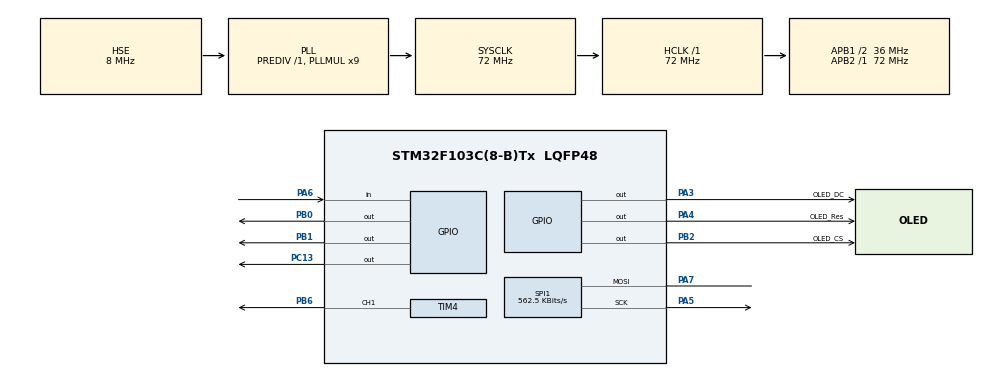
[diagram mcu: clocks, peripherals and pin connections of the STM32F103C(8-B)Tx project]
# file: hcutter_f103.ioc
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Mcu.Family=STM32F1
Mcu.Name=STM32F103C(8-B)Tx
Mcu.Package=LQFP48
NVIC.PriorityGroup=NVIC_PRIORITYGROUP_4
PA13.Mode=Serial_Wire
PA13.Signal=SYS_JTMS-SWDIO
PA14.Mode=Serial_Wire
PA14.Signal=SYS_JTCK-SWCLK
PA3.GPIO_Label=OLED_DC
PA3.Signal=GPIO_Output
PA4.GPIO_Label=OLED_Res
PA4.Signal=GPIO_Output
PA5.Mode=Simplex_Bidirectional_Master
PA5.Signal=SPI1_SCK
PA6.GPIO_PuPd=GPIO_PULLUP
PA6.Signal=GPIO_Input
PA7.Mode=Simplex_Bidirectional_Master
PA7.Signal=SPI1_MOSI
PB0.GPIO_PuPd=GPIO_PULLDOWN
PB0.Signal=GPIO_Output
PB1.GPIO_PuPd=GPIO_PULLDOWN
PB1.Signal=GPIO_Output
PB2.GPIO_Label=OLED_CS
PB2.Signal=GPIO_Output
PB6.Signal=S_TIM4_CH1
PC13-TAMPER-RTC.PinState=GPIO_PIN_SET
PC13-TAMPER-RTC.Signal=GPIO_Output
PD0-OSC_IN.Mode=HSE-External-Oscillator
PD0-OSC_IN.Signal=RCC_OSC_IN
PD1-OSC_OUT.Mode=HSE-External-Oscillator
PD1-OSC_OUT.Signal=RCC_OSC_OUT
ProjectManager.HeapSize=0x200
ProjectManager.StackSize=0x400
ProjectManager.TargetToolchain=STM32CubeIDE
RCC.AHBFreq_Value=72000000
RCC.APB1CLKDivider=RCC_HCLK_DIV2
RCC.APB1Freq_Value=36000000
RCC.APB1TimFreq_Value=72000000
RCC.APB2Freq_Value=72000000
RCC.APB2TimFreq_Value=72000000
RCC.HCLKFreq_Value=72000000
RCC.PLLMUL=RCC_PLL_MUL9
RCC.PLLSourceVirtual=RCC_PLLSOURCE_HSE
RCC.SYSCLKFreq_VALUE=72000000
RCC.SYSCLKSource=RCC_SYSCLKSOURCE_PLLCLK
RCC.USBFreq_Value=72000000
SH.S_TIM4_CH1.0=TIM4_CH1,PWM Generation1 CH1
SPI1.BaudRatePrescaler=SPI_BAUDRATEPRESCALER_128
SPI1.CalculateBaudRate=562.5 KBits/s
SPI1.Direction=SPI_DIRECTION_1LINE
SPI1.Mode=SPI_MODE_MASTER
SPI1.VirtualType=VM_MASTER
TIM4.Channel-PWM\ Generation1\ CH1=TIM_CHANNEL_1
TIM4.Period=255
TIM4.Prescaler=5624
board=custom

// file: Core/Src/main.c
/* USER CODE BEGIN Header */
/**
  ******************************************************************************
  * @file           : main.c
  * @brief          : Main program body
  ******************************************************************************
  * @attention
  *
  * Copyright (c) 2023 STMicroelectronics.
  * All rights reserved.
  *
  * This software is licensed under terms that can be found in the LICENSE file
  * in the root directory of this software component.
  * If no LICENSE file comes with this software, it is provided AS-IS.
  *
  ******************************************************************************
  */
/* USER CODE END Header */
#include "main.h"

/* USER CODE BEGIN Includes */
#include "ssd1306/ssd1306.h"
#include "ssd1306/ssd1306_tests.h"
/* USER CODE END Includes */

SPI_HandleTypeDef hspi1;

TIM_HandleTypeDef htim4;

/* USER CODE BEGIN PV */

typedef struct {
	GPIO_TypeDef *button_port;
	uint16_t button_pin;
	uint8_t short_state;
	uint8_t long_state;
	uint32_t time_key;
} StButtonsTypeDef;

StButtonsTypeDef stButtons[1];

/* USER CODE END PV */

void SystemClock_Config(void);
static void MX_GPIO_Init(void);
static void MX_TIM4_Init(void);
static void MX_SPI1_Init(void);

/* USER CODE BEGIN 0 */

enum MENU {
	MENU_START = 0,
	MENU_LENGTH,
	MENU_QUANT,
	MENU_MAX,
};

int curr_menu = 0;
int prog_start = 0;
int tube_length = 5;
int tube_quant = 5;
int tube_prev_quant = 0;

void servo_up()
{
	HAL_TIM_PWM_Start(&htim4, TIM_CHANNEL_1);
	TIM4->CCR1 = 20; //7 - 0, 12 - 45, 20 - 90, 32 - 180
	HAL_Delay(500);
	TIM4->CCR1 = 9;
	HAL_Delay(500);
	HAL_TIM_PWM_Stop(&htim4, TIM_CHANNEL_1);
}

void servo_down()
{
	HAL_TIM_PWM_Start(&htim4, TIM_CHANNEL_1);
	TIM4->CCR1 = 20; //7 - 0, 12 - 45, 20 - 90, 32 - 180
	HAL_Delay(500);
	TIM4->CCR1 = 9;
	HAL_Delay(500);
	HAL_TIM_PWM_Stop(&htim4, TIM_CHANNEL_1);
}

void motors_off()
{
	HAL_GPIO_WritePin(GPIOB, GPIO_PIN_0, GPIO_PIN_RESET);
	HAL_GPIO_WritePin(GPIOB, GPIO_PIN_1, GPIO_PIN_RESET);
	HAL_Delay(10);
	HAL_TIM_PWM_Start(&htim4, TIM_CHANNEL_1);
	TIM4->CCR1 = 9;
	HAL_Delay(500);
	HAL_TIM_PWM_Stop(&htim4, TIM_CHANNEL_1);
}

uint32_t move_timer = 0;
int state_prog = 0;
int off_state = 0;
int motors_stop = 0;

void move()
{
	HAL_GPIO_WritePin(GPIOB, GPIO_PIN_0, GPIO_PIN_SET);
	HAL_GPIO_WritePin(GPIOB, GPIO_PIN_1, GPIO_PIN_RESET);
}
void stop()
{
	HAL_GPIO_WritePin(GPIOB, GPIO_PIN_0, GPIO_PIN_RESET);
	HAL_GPIO_WritePin(GPIOB, GPIO_PIN_1, GPIO_PIN_RESET);
}

void tube_cutting()
{
	off_state = 0;
	HAL_GPIO_WritePin(GPIOC, GPIO_PIN_13, !(GPIO_PinState)prog_start);
	if (prog_start)
	{
		if (state_prog == 0)
		{
			move_timer = HAL_GetTick();
			move();
			state_prog++;
		}
		else if (state_prog == 1)
		{
			if (HAL_GetTick() - move_timer > tube_length*30)
			{
				stop();
				move_timer = HAL_GetTick();
				HAL_TIM_PWM_Start(&htim4, TIM_CHANNEL_1);
				TIM4->CCR1 = 20;
				state_prog++;
			}
		}
		else if (state_prog == 2)
		{
			if (HAL_GetTick() - move_timer > 500)
			{
				TIM4->CCR1 = 9;
				move_timer = HAL_GetTick();
				state_prog++;
			}
		}
		else if (state_prog == 3)
		{
			if (HAL_GetTick() - move_timer > 500)
			{
				HAL_TIM_PWM_Stop(&htim4, TIM_CHANNEL_1);
				state_prog = 0;
				tube_quant--;
				if (tube_quant<=0)
				{
					tube_quant = tube_prev_quant;
					prog_start = 0;
				}
			}
		}
	}
	else if (!motors_stop)
	{
		state_prog = 0;
		if (off_state == 0)
		{
			stop();
			HAL_Delay(10);
			move_timer = HAL_GetTick();
			TIM4->CCR1 = 9;
			off_state++;
		}
		else if (off_state == 1)
		{
			if (HAL_GetTick() - move_timer > 500)
			{
				HAL_TIM_PWM_Stop(&htim4, TIM_CHANNEL_1);
				off_state = 0;
				motors_stop = 1;
			}
		}
	}
}

void buttons_Init()
{
	stButtons[0].button_port = GPIOA;
	stButtons[0].button_pin = GPIO_PIN_6;
}

uint8_t short_state = 0;
uint8_t long_state = 0;
uint32_t time_key1 = 0;

void getButton()
{
	for (int i=0; i<1; i++)
	{
		uint32_t ms = HAL_GetTick();
		uint8_t key_state = HAL_GPIO_ReadPin(stButtons[i].button_port, stButtons[i].button_pin);
		if(key_state == 0 && !stButtons[i].short_state && (ms - stButtons[i].time_key) > 50)
		{
			stButtons[i].short_state = 1;
			stButtons[i].long_state = 0;
			stButtons[i].time_key = ms;
		}
		else if(key_state == 0 && !stButtons[i].long_state && (ms - stButtons[i].time_key) > 1000)
		{
			stButtons[i].long_state = 1;
			//long press
			if (i==0)
			{
				curr_menu++;
				if (curr_menu>=MENU_MAX)
				{
					curr_menu = 0;
				}
			}
		}
		else if(key_state == 1 && stButtons[i].short_state && (ms - stButtons[i].time_key) > 50)
		{
			stButtons[i].short_state = 0;
			stButtons[i].time_key = ms;

		  if(!stButtons[i].long_state)
		  {
			//short press
			  if (curr_menu == MENU_START)
			  {
				  prog_start = !prog_start;
			  }
			  else if (curr_menu == MENU_LENGTH)
			  {
				  tube_length++;
				  if (tube_length > 20) tube_length = 5;
			  }
			  else if (curr_menu == MENU_QUANT)
			  {
				  tube_quant+=5;
				  if (tube_quant > 50) tube_quant = 5;
				  tube_prev_quant = tube_quant;
			  }
		  }
		}
	}
}

void menu_update()
{
	SSD1306_COLOR color1 = White;
	SSD1306_COLOR color2 = White;
	SSD1306_COLOR color3 = White;
	if (curr_menu == MENU_START)
	{
		//char str [12];
		//if (!prog_start) snprintf(str, sizeof str, "%s", "pause");
		//else snprintf(str, sizeof str, "%s", "run");
		ssd1306_Fill(Black);
		color1 = Black;
		//ssd1306_SetCursor(3, 20);
		//ssd1306_WriteString(str, Font_7x10, White);
		for (int i=0; i<tube_quant; i++)
		{
			ssd1306_FillRectangle(4+i*3, 42, 5+i*3, 56, White);;
		}
	}
	else if (curr_menu == MENU_LENGTH) {
		ssd1306_Fill(Black);
		color2 = Black;
		//char str [12];
		//snprintf(str, sizeof str, "%d", tube_length);
		//ssd1306_SetCursor(57, 16);
		//ssd1306_WriteString(str, Font_11x18, White);
		ssd1306_FillRectangle(5, 42, tube_length*4, 56, White);
	}
	else if (curr_menu == MENU_QUANT)
	{
		ssd1306_Fill(Black);
		color3 = Black;
		//char str [12];
		//snprintf(str, sizeof str, "%d", tube_quant);
		//ssd1306_SetCursor(98, 16);
		//ssd1306_WriteString(str, Font_11x18, White);
		//ssd1306_DrawCircle(5+tube_quant*2, 49, 9, White);
		for (int i=0; i<tube_quant; i++)
		{
			ssd1306_DrawCircle(15+i*2, 49, 5, White);
		}
	}
	ssd1306_SetCursor(4, 2);
	ssd1306_WriteString("Status", Font_7x10, color1);
	ssd1306_SetCursor(47, 2);
	ssd1306_WriteString("Length", Font_7x10, color2);
	ssd1306_SetCursor(92, 2);
	ssd1306_WriteString("Quant", Font_7x10, color3);
	ssd1306_DrawRectangle(2, 0, 128, 63, White);
	ssd1306_Line(2, 13, 128, 13, White);
	ssd1306_Line(2, 35, 128, 35, White);
	ssd1306_Line(45, 1, 45, 35, White);
	ssd1306_Line(90, 1, 90, 35, White);
	static char strq [12];

	if (!prog_start) snprintf(strq, sizeof strq, "%s", "pause");
	else snprintf(strq, sizeof strq, "%s", "run");
	ssd1306_SetCursor(5, 20);
	ssd1306_WriteString(strq, Font_7x10, White);

	snprintf(strq, sizeof strq, "%d", tube_length);
	ssd1306_SetCursor(57, 16);
	ssd1306_WriteString(strq, Font_11x18, White);
	snprintf(strq, sizeof strq, "%d", tube_quant);
	ssd1306_SetCursor(98, 16);
	ssd1306_WriteString(strq, Font_11x18, White);

	ssd1306_UpdateScreen();
}

/* USER CODE END 0 */

int main(void)
{

  /* MCU Configuration--------------------------------------------------------*/

  /* Reset of all peripherals, Initializes the Flash interface and the Systick. */
  HAL_Init();

  /* Configure the system clock */
  SystemClock_Config();

  /* Initialize all configured peripherals */
  MX_GPIO_Init();
  MX_TIM4_Init();
  MX_SPI1_Init();
  /* USER CODE BEGIN 2 */
  ssd1306_Init();
  buttons_Init();
  tube_prev_quant = tube_quant;
  /* USER CODE END 2 */

  /* Infinite loop */
  /* USER CODE BEGIN WHILE */

  while (1)
  {

	  getButton();
	  if(curr_menu == MENU_START)
	  {
		  //getEncoder();
	  }
	  else if (curr_menu == MENU_LENGTH)
	  {
		  //read_bms_uart();
	  }
	  else if (curr_menu == MENU_QUANT)
	  {
	  	  //Moving();
	  }
	  menu_update();
	  tube_cutting();
	  HAL_Delay(1);
    /* USER CODE END WHILE */

  }
}

void SystemClock_Config(void)
{
  RCC_OscInitTypeDef RCC_OscInitStruct = {0};
  RCC_ClkInitTypeDef RCC_ClkInitStruct = {0};

  /** Initializes the RCC Oscillators according to the specified parameters
  * in the RCC_OscInitTypeDef structure.
  */
  RCC_OscInitStruct.OscillatorType = RCC_OSCILLATORTYPE_HSE;
  RCC_OscInitStruct.HSEState = RCC_HSE_ON;
  RCC_OscInitStruct.HSEPredivValue = RCC_HSE_PREDIV_DIV1;
  RCC_OscInitStruct.HSIState = RCC_HSI_ON;
  RCC_OscInitStruct.PLL.PLLState = RCC_PLL_ON;
  RCC_OscInitStruct.PLL.PLLSource = RCC_PLLSOURCE_HSE;
  RCC_OscInitStruct.PLL.PLLMUL = RCC_PLL_MUL9;
  if (HAL_RCC_OscConfig(&RCC_OscInitStruct) != HAL_OK)
  {
    Error_Handler();
  }

  /** Initializes the CPU, AHB and APB buses clocks
  */
  RCC_ClkInitStruct.ClockType = RCC_CLOCKTYPE_HCLK|RCC_CLOCKTYPE_SYSCLK
                              |RCC_CLOCKTYPE_PCLK1|RCC_CLOCKTYPE_PCLK2;
  RCC_ClkInitStruct.SYSCLKSource = RCC_SYSCLKSOURCE_PLLCLK;
  RCC_ClkInitStruct.AHBCLKDivider = RCC_SYSCLK_DIV1;
  RCC_ClkInitStruct.APB1CLKDivider = RCC_HCLK_DIV2;
  RCC_ClkInitStruct.APB2CLKDivider = RCC_HCLK_DIV1;

  if (HAL_RCC_ClockConfig(&RCC_ClkInitStruct, FLASH_LATENCY_2) != HAL_OK)
  {
    Error_Handler();
  }
}

static void MX_SPI1_Init(void)
{

  /* SPI1 parameter configuration*/
  hspi1.Instance = SPI1;
  hspi1.Init.Mode = SPI_MODE_MASTER;
  hspi1.Init.Direction = SPI_DIRECTION_1LINE;
  hspi1.Init.DataSize = SPI_DATASIZE_8BIT;
  hspi1.Init.CLKPolarity = SPI_POLARITY_LOW;
  hspi1.Init.CLKPhase = SPI_PHASE_1EDGE;
  hspi1.Init.NSS = SPI_NSS_SOFT;
  hspi1.Init.BaudRatePrescaler = SPI_BAUDRATEPRESCALER_128;
  hspi1.Init.FirstBit = SPI_FIRSTBIT_MSB;
  hspi1.Init.TIMode = SPI_TIMODE_DISABLE;
  hspi1.Init.CRCCalculation = SPI_CRCCALCULATION_DISABLE;
  hspi1.Init.CRCPolynomial = 10;
  if (HAL_SPI_Init(&hspi1) != HAL_OK)
  {
    Error_Handler();
  }

}

static void MX_TIM4_Init(void)
{

  TIM_MasterConfigTypeDef sMasterConfig = {0};
  TIM_OC_InitTypeDef sConfigOC = {0};

  htim4.Instance = TIM4;
  htim4.Init.Prescaler = 5624;
  htim4.Init.CounterMode = TIM_COUNTERMODE_UP;
  htim4.Init.Period = 255;
  htim4.Init.ClockDivision = TIM_CLOCKDIVISION_DIV1;
  htim4.Init.AutoReloadPreload = TIM_AUTORELOAD_PRELOAD_DISABLE;
  if (HAL_TIM_PWM_Init(&htim4) != HAL_OK)
  {
    Error_Handler();
  }
  sMasterConfig.MasterOutputTrigger = TIM_TRGO_RESET;
  sMasterConfig.MasterSlaveMode = TIM_MASTERSLAVEMODE_DISABLE;
  if (HAL_TIMEx_MasterConfigSynchronization(&htim4, &sMasterConfig) != HAL_OK)
  {
    Error_Handler();
  }
  sConfigOC.OCMode = TIM_OCMODE_PWM1;
  sConfigOC.Pulse = 0;
  sConfigOC.OCPolarity = TIM_OCPOLARITY_HIGH;
  sConfigOC.OCFastMode = TIM_OCFAST_DISABLE;
  if (HAL_TIM_PWM_ConfigChannel(&htim4, &sConfigOC, TIM_CHANNEL_1) != HAL_OK)
  {
    Error_Handler();
  }
  HAL_TIM_MspPostInit(&htim4);

}

static void MX_GPIO_Init(void)
{
  GPIO_InitTypeDef GPIO_InitStruct = {0};

  /* GPIO Ports Clock Enable */
  __HAL_RCC_GPIOC_CLK_ENABLE();
  __HAL_RCC_GPIOD_CLK_ENABLE();
  __HAL_RCC_GPIOA_CLK_ENABLE();
  __HAL_RCC_GPIOB_CLK_ENABLE();

  /*Configure GPIO pin Output Level */
  HAL_GPIO_WritePin(GPIOC, GPIO_PIN_13, GPIO_PIN_SET);

  /*Configure GPIO pin Output Level */
  HAL_GPIO_WritePin(GPIOA, OLED_DC_Pin|OLED_Res_Pin, GPIO_PIN_RESET);

  /*Configure GPIO pin Output Level */
  HAL_GPIO_WritePin(GPIOB, GPIO_PIN_0|GPIO_PIN_1|OLED_CS_Pin, GPIO_PIN_RESET);

  /*Configure GPIO pin : PC13 */
  GPIO_InitStruct.Pin = GPIO_PIN_13;
  GPIO_InitStruct.Mode = GPIO_MODE_OUTPUT_PP;
  GPIO_InitStruct.Pull = GPIO_NOPULL;
  GPIO_InitStruct.Speed = GPIO_SPEED_FREQ_LOW;
  HAL_GPIO_Init(GPIOC, &GPIO_InitStruct);

  /*Configure GPIO pins : OLED_DC_Pin OLED_Res_Pin */
  GPIO_InitStruct.Pin = OLED_DC_Pin|OLED_Res_Pin;
  GPIO_InitStruct.Mode = GPIO_MODE_OUTPUT_PP;
  GPIO_InitStruct.Pull = GPIO_NOPULL;
  GPIO_InitStruct.Speed = GPIO_SPEED_FREQ_LOW;
  HAL_GPIO_Init(GPIOA, &GPIO_InitStruct);

  /*Configure GPIO pin : PA6 */
  GPIO_InitStruct.Pin = GPIO_PIN_6;
  GPIO_InitStruct.Mode = GPIO_MODE_INPUT;
  GPIO_InitStruct.Pull = GPIO_PULLUP;
  HAL_GPIO_Init(GPIOA, &GPIO_InitStruct);

  /*Configure GPIO pins : PB0 PB1 */
  GPIO_InitStruct.Pin = GPIO_PIN_0|GPIO_PIN_1;
  GPIO_InitStruct.Mode = GPIO_MODE_OUTPUT_PP;
  GPIO_InitStruct.Pull = GPIO_PULLDOWN;
  GPIO_InitStruct.Speed = GPIO_SPEED_FREQ_LOW;
  HAL_GPIO_Init(GPIOB, &GPIO_InitStruct);

  /*Configure GPIO pin : OLED_CS_Pin */
  GPIO_InitStruct.Pin = OLED_CS_Pin;
  GPIO_InitStruct.Mode = GPIO_MODE_OUTPUT_PP;
  GPIO_InitStruct.Pull = GPIO_NOPULL;
  GPIO_InitStruct.Speed = GPIO_SPEED_FREQ_LOW;
  HAL_GPIO_Init(OLED_CS_GPIO_Port, &GPIO_InitStruct);

}

void Error_Handler(void)
{
  __disable_irq();
  while (1)
  {
  }
}
